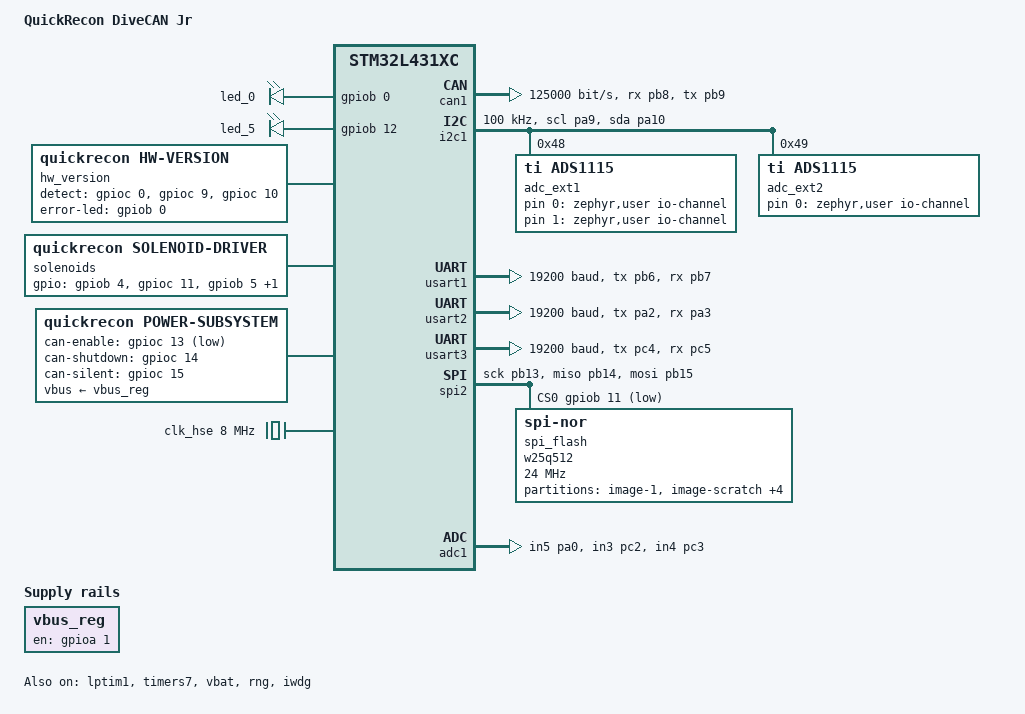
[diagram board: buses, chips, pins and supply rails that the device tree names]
/dts-v1/;
#include <st/l4/stm32l431Xc.dtsi>
#include <st/l4/stm32l431r(b-c)tx-pinctrl.dtsi>
#include <zephyr/dt-bindings/adc/adc.h>

/ {
	model = "QuickRecon DiveCAN Jr";
	compatible = "quickrecon,divecan-jr";

	chosen {
		zephyr,sram = &sram0;
		zephyr,flash = &flash0;
		zephyr,code-partition = &slot0_partition;
		zephyr,canbus = &can1;
	};

	aliases {
		led0 = &led_0;
		led1 = &led_5;
		watchdog0 = &iwdg;
		/* MCUBoot uses this LED during boot/swap operations
		 * (CONFIG_MCUBOOT_INDICATION_LED). Once MCUBoot jumps
		 * into the app, the heartbeat thread takes the LED back
		 * via the led0 alias. */
		mcuboot-led0 = &led_0;
	};

	leds {
		compatible = "gpio-leds";
		led_0: led_0 {
			gpios = <&gpiob 0 GPIO_ACTIVE_HIGH>;
		};
		led_5: led_5 {
			gpios = <&gpiob 12 GPIO_ACTIVE_HIGH>;
		};
	};

	/* Hardware version detection — halts with blink code on mismatch.
	 * JR2: all three pins wired to ground → expected [0, 0, 0] */
	hw_version: hw-version {
		compatible = "quickrecon,hw-version";
		detect-gpios = <&gpioc 0 GPIO_ACTIVE_HIGH>,
			       <&gpioc 9 GPIO_ACTIVE_HIGH>,
			       <&gpioc 10 GPIO_ACTIVE_HIGH>;
		expected-pattern = <0 0 0>;
		error-led-gpios = <&gpiob 0 GPIO_ACTIVE_HIGH>;
	};

	solenoids: solenoids {
		compatible = "quickrecon,solenoid-driver";
		gpios = <&gpiob 4 GPIO_ACTIVE_HIGH>,
			<&gpioc 11 GPIO_ACTIVE_HIGH>,
			<&gpiob 5 GPIO_ACTIVE_HIGH>,
			<&gpioa 7 GPIO_ACTIVE_HIGH>;
		counter = <&sol_timer>;
		/* 5.5 s deadman — safety bound on solenoid on-time if the
		 * fire-thread stalls. Sized to comfortably exceed the PPO2
		 * PID controller's 4.9 s per-cycle on-time (PPO2Control.c
		 * legacy SOLENOID_MAX_FIRE_MS). See COMPROMISE.md. */
		max-on-time-us = <5500000>;
	};

	/* ---- Power subsystem ----
	 * Jr: single battery source, VBUS on/off only.
	 * battery_en (PA1) controls the VBUS regulator.
	 * Battery voltage sensed on ADC1 channel 4 (PC3) through 7.25x divider.
	 * VCC monitored via internal VBAT sensor (shared regulator with VBUS).
	 */
	vbus_reg: vbus-regulator {
		compatible = "regulator-fixed";
		regulator-name = "vbus";
		enable-gpios = <&gpioa 1 GPIO_ACTIVE_HIGH>;
		regulator-boot-on;
		startup-delay-us = <5000>;
	};

	power: power-subsystem {
		compatible = "quickrecon,power-subsystem";
		vbus-supply = <&vbus_reg>;
		battery-sense-io-channels = <&adc1 4>;
		battery-divider-ratio = <7250>;
		/* On Jr, VCC == VBUS (shared regulator). Read it via the
		 * STM32 internal VBAT sensor, which owns ADC channel 18 and
		 * applies the chip's internal 1/3 divider. */
		vcc-sense = <&vbat>;
		can-enable-gpios = <&gpioc 13 GPIO_ACTIVE_LOW>;
		can-shutdown-gpios = <&gpioc 14 GPIO_ACTIVE_HIGH>;
		/* CAN transceiver silent/Rs line. Driven low (normal mode) at
		 * init; asserted high (silent) going into shutdown. Owned as an
		 * output — not a passive input — so a warm start reliably clears
		 * silent mode. See power_management.c. */
		can-silent-gpios = <&gpioc 15 GPIO_ACTIVE_HIGH>;
	};
};

/* ---- Clock tree ----
 * Matches Rev2 for low power: HSE=8MHz, PLL N=12 R=8 → 12MHz SYSCLK
 * PLL Q=4 → 24MHz for CLK48 (RNG clock source)
 */
&clk_hse {
	clock-frequency = <DT_FREQ_M(8)>;
	status = "okay";
};


&pll {
	div-m = <1>;
	mul-n = <12>;
	div-q = <4>;
	div-r = <8>;
	clocks = <&clk_hse>;
	status = "okay";
};

&rcc {
	clocks = <&pll>;
	clock-frequency = <DT_FREQ_M(12)>;
	ahb-prescaler = <1>;
	apb1-prescaler = <1>;
	apb2-prescaler = <1>;
};

/* ---- Kernel timebase: LPTIM1 on LSI (32 kHz) ----
 * Decouples kernel timing from SYSCLK so main() can boost HCLK 12→48 MHz for
 * the boot-path flash scans and restore it afterwards (SysTick, by contrast,
 * counts HCLK — a runtime clock switch under it storms the tickless kernel).
 * LSI is ±5%-ish; per-test timing tolerances absorb that. Tick rate becomes
 * 4000/s via the SoC defconfig. */
&clk_lsi {
	status = "okay";
};

stm32_lp_tick_source: &lptim1 {
	clocks = <&rcc STM32_CLOCK(APB1, 31)>,
		 <&rcc STM32_SRC_LSI LPTIM1_SEL(1)>;
	status = "okay";
};

/* CONFIG_PM is required by the LPTIM timer driver, but this rig/product must
 * NOT enter STOP modes on idle: STOP kills SWD attach (rig flash/debug
 * discipline) and gates the CAN peripheral (dropped DiveCAN frames while
 * idle). Deleting the SoC-provided states leaves the PM policy with nothing
 * to choose, so idle remains plain WFI exactly as before. */
&cpu0 {
	/delete-property/ cpu-power-states;
};

/* ---- CAN bus — DiveCAN @ 125 kbit/s ----
 * Jr at 80 MHz: prescaler and segments are derived from the Zephyr bitrate and
 * sample-point properties below.
 */
&can1 {
	pinctrl-0 = <&can1_rx_pb8 &can1_tx_pb9>;
	pinctrl-names = "default";
	bitrate = <125000>;	/* DiveCAN bus is 125 kbit/s (was erroneously 250000) */
	sample-point = <875>;
	status = "okay";
};

/* ---- I2C1 — ADS1115 external ADCs ----
 * Two devices: 0x48 (cells 1+2), 0x49 (cell 3 + aux)
 * PA9 = SCL, PA10 = SDA
 *
 * Analog cell -> ADC channel distribution lives here in DT (consumed by
 * src/oxygen_cell_analog.c via the zephyr,user io-channels list below), NOT in
 * C. Each channel@N is a logical channel_id; zephyr,input-positive/negative
 * select the physical ADS1115 differential AIN pair. Galvanic cells are ~60 mV
 * full scale, so use the ±0.256 V PGA range (ADC_GAIN_8).
 */
&i2c1 {
	pinctrl-0 = <&i2c1_scl_pa9 &i2c1_sda_pa10>;
	pinctrl-names = "default";
	clock-frequency = <I2C_BITRATE_STANDARD>;
	/* Recovery pins for i2c_recover_bus(): same PA9/PA10 lines, only ever
	 * driven (as open-drain GPIO) while CONFIG_I2C_STM32_BUS_RECOVERY is set
	 * and a recovery is in progress; pinctrl owns them otherwise. Required on
	 * the Poseidon variant. The public recovery operation is used only after
	 * line classification confirms SCL-high/SDA-low; an idle-wire driver wedge
	 * is handled by an atomic STM32 peripheral-enable pulse instead. */
	scl-gpios = <&gpioa 9 (GPIO_OPEN_DRAIN | GPIO_PULL_UP)>;
	sda-gpios = <&gpioa 10 (GPIO_OPEN_DRAIN | GPIO_PULL_UP)>;
	status = "okay";

	adc_ext1: ads1115@48 {
		compatible = "ti,ads1115";
		reg = <0x48>;
		#address-cells = <1>;
		#size-cells = <0>;
		#io-channel-cells = <1>;
		/* ALRT_ADC1 -> PA11 is wired for a conversion-ready IRQ, but the data-ready
		 * interrupt path is NOT yet enabled: with no external pull-up on the open-drain
		 * ALERT/RDY, the weak (~40k) STM32 internal pull-up couldn't reconstruct the
		 * brief (~8us) RDY pulse, so reads stalled (all cells -> 0). Needs scope bring-up
		 * (real pull-up and/or latching comparator + clear-on-read) before re-enabling:
		 *   alert-rdy-gpios = <&gpioa 11 (GPIO_ACTIVE_LOW | GPIO_PULL_UP)>;
		 * Until then the driver uses its OS-bit polling path (works). 32 SPS + the
		 * discard-after-mux-change handle the settling. */

		channel@0 {		/* Cell 1: AIN0-AIN1 differential */
			reg = <0>;
			zephyr,gain = "ADC_GAIN_8";
			zephyr,reference = "ADC_REF_INTERNAL";
			zephyr,acquisition-time = <ADC_ACQ_TIME(ADC_ACQ_TIME_TICKS, 2)>;	/* 32 SPS (~31ms): longer settle for the high-Z (~10k) cell inputs */
			zephyr,resolution = <16>;
			zephyr,differential;
			zephyr,input-positive = <0>;
			zephyr,input-negative = <1>;
		};

		channel@1 {		/* Cell 2: AIN2-AIN3 differential */
			reg = <1>;
			zephyr,gain = "ADC_GAIN_8";
			zephyr,reference = "ADC_REF_INTERNAL";
			zephyr,acquisition-time = <ADC_ACQ_TIME(ADC_ACQ_TIME_TICKS, 2)>;	/* 32 SPS (~31ms): longer settle for the high-Z (~10k) cell inputs */
			zephyr,resolution = <16>;
			zephyr,differential;
			zephyr,input-positive = <2>;
			zephyr,input-negative = <3>;
		};
	};

	adc_ext2: ads1115@49 {
		compatible = "ti,ads1115";
		reg = <0x49>;
		#address-cells = <1>;
		#size-cells = <0>;
		#io-channel-cells = <1>;
		/* ALRT_ADC2 -> PA12 wired for conversion-ready IRQ; NOT enabled yet (see @48 —
		 * needs pull-up/scope bring-up). Polling path in use.
		 *   alert-rdy-gpios = <&gpioa 12 (GPIO_ACTIVE_LOW | GPIO_PULL_UP)>; */

		channel@0 {		/* Cell 3: AIN0-AIN1 differential */
			reg = <0>;
			zephyr,gain = "ADC_GAIN_8";
			zephyr,reference = "ADC_REF_INTERNAL";
			zephyr,acquisition-time = <ADC_ACQ_TIME(ADC_ACQ_TIME_TICKS, 2)>;	/* 32 SPS (~31ms): longer settle for the high-Z (~10k) cell inputs */
			zephyr,resolution = <16>;
			zephyr,differential;
			zephyr,input-positive = <0>;
			zephyr,input-negative = <1>;
		};
	};
};

/* Analog cell -> ADC channel map, in DiveCAN cell order (cell 1, 2, 3).
 * oxygen_cell_analog.c pulls each cell's ADC spec with
 * ADC_DT_SPEC_GET_BY_IDX(DT_PATH(zephyr_user), cell_index). Redistributing
 * cells across chips/pairs is a one-line edit here — no C changes. */
/ {
	zephyr,user {
		io-channels = <&adc_ext1 0>, <&adc_ext1 1>, <&adc_ext2 0>;
	};
};

/* ---- UARTs — Oxygen sensor cells ----
 * All 19200 baud, 8N1.
 * DMA channels assigned from RM0394 Table 41 (STM32L431 DMA request mapping):
 *   USART1: DMA1 Ch5 (RX, req 2), DMA1 Ch4 (TX, req 2)
 *   USART2: DMA1 Ch6 (RX, req 2), DMA1 Ch7 (TX, req 2)
 *   USART3: DMA1 Ch3 (RX, req 2), DMA1 Ch2 (TX, req 2)
 *
 * USART2 and USART3 have TX/RX swap enabled in Rev2 .ioc
 * (ADVFEATURE_SWAP_ENABLE). For Jr, check if swap is still
 * needed — if so, use the swapped pinctrl variants.
 */

/* Cell 1: PB6 (TX), PB7 (RX) — no swap */
&usart1 {
	pinctrl-0 = <&usart1_tx_pb6 &usart1_rx_pb7>;
	pinctrl-names = "default";
	current-speed = <19200>;
	dmas = <&dma1 5 2 (STM32_DMA_PERIPH_TO_MEMORY | STM32_DMA_MEM_INC |
			    STM32_DMA_PERIPH_8BITS | STM32_DMA_MEM_8BITS)>,
	       <&dma1 4 2 (STM32_DMA_MEMORY_TO_PERIPH | STM32_DMA_MEM_INC |
			    STM32_DMA_PERIPH_8BITS | STM32_DMA_MEM_8BITS)>;
	dma-names = "rx", "tx";
	status = "okay";
};

/* Cell 2: PA2 (TX), PA3 (RX). JR+ Rev2 wires USART2 with TX/RX swapped
 * (ADVFEATURE_SWAP_ENABLE in the Rev2 .ioc); verified empirically on the rig
 * 2026-06-23 — cell2 only polls its CellSim with the swap applied. */
&usart2 {
	pinctrl-0 = <&usart2_tx_pa2 &usart2_rx_pa3>;
	pinctrl-names = "default";
	current-speed = <19200>;
	tx-rx-swap;
	dmas = <&dma1 6 2 (STM32_DMA_PERIPH_TO_MEMORY | STM32_DMA_MEM_INC |
			    STM32_DMA_PERIPH_8BITS | STM32_DMA_MEM_8BITS)>,
	       <&dma1 7 2 (STM32_DMA_MEMORY_TO_PERIPH | STM32_DMA_MEM_INC |
			    STM32_DMA_PERIPH_8BITS | STM32_DMA_MEM_8BITS)>;
	dma-names = "rx", "tx";
	status = "okay";
};

/* Cell 3: PC4 (TX), PC5 (RX). JR+ Rev2 wires USART3 with TX/RX swapped too
 * (USART1 is NOT swapped). See the usart2 note above. */
&usart3 {
	pinctrl-0 = <&usart3_tx_pc4 &usart3_rx_pc5>;
	pinctrl-names = "default";
	current-speed = <19200>;
	tx-rx-swap;
	dmas = <&dma1 3 2 (STM32_DMA_PERIPH_TO_MEMORY | STM32_DMA_MEM_INC |
			    STM32_DMA_PERIPH_8BITS | STM32_DMA_MEM_8BITS)>,
	       <&dma1 2 2 (STM32_DMA_MEMORY_TO_PERIPH | STM32_DMA_MEM_INC |
			    STM32_DMA_PERIPH_8BITS | STM32_DMA_MEM_8BITS)>;
	dma-names = "rx", "tx";
	status = "okay";
};

/* ---- SPI2 — Winbond W25Q512JV external flash ----
 * PB13 = SCK, PB14 = MISO, PB15 = MOSI, PB11 = CS
 */
&spi2 {
	pinctrl-0 = <&spi2_sck_pb13 &spi2_miso_pb14 &spi2_mosi_pb15>;
	pinctrl-names = "default";
	cs-gpios = <&gpiob 11 GPIO_ACTIVE_LOW>;
	status = "okay";

	spi_flash: w25q512@0 {
		compatible = "jedec,spi-nor";
		reg = <0>;
		spi-max-frequency = <24000000>;
		jedec-id = [ef 40 20];
		/* W25Q512JV: 512 Mbit = 64 MB. Note: schematic and
		 * ARCHITECTURE.md historically misstated this as GD25Q128
		 * (16 MB). DTS is authoritative — confirmed by physical
		 * hardware inspection. */
		size = <DT_SIZE_M(64)>;
		/* This 64 MB part needs 4-byte addressing to reach anything above
		 * 16 MB (the storage_partition/NVS lives at 0x3ff8000 ≈ 64 MB).
		 * Use dedicated 4-byte-address opcodes (0x13/0x12/0x21/0xDC) for
		 * accesses > 16 MB. NOTE: with CONFIG_SPI_NOR_SFDP_RUNTIME the
		 * `enter-4byte-addr` DT property is compiled out and ignored, and
		 * the chip otherwise stays in 3-byte mode — so reads above 16 MB
		 * silently WRAP into the low 16 MB and writes/erases hang in the
		 * driver's no-timeout WIP poll. `use-4b-addr-opcodes` is honored
		 * under SFDP_RUNTIME and survives the MCUboot→app handoff (no
		 * volatile mode bit to lose). This is the fix for the broken
		 * settings/cal NVS persistence (HIT_LIST #5 / settings-persist). */
		use-4b-addr-opcodes;
		has-dpd;
		t-enter-dpd = <3000>;
		t-exit-dpd = <30000>;
	};
};

/* ---- DMA1 — UART async transfers for digital O2 cells ---- */
&dma1 {
	status = "okay";
};

/* ---- TIM7 — solenoid deadman timer ----
 * One-shot hardware counter. When the alarm fires (ISR),
 * all solenoid GPIOs are forced low regardless of app state.
 *
 * Prescaler tuning (PSC=7999 → divider=8000 → 100 µs/tick) gives a
 * 16-bit max one-shot of 65535 × 100 µs = 6.55 s. The driver clamp
 * `max-on-time-us` is set to 5.5 s — safely under the physical
 * counter range while comfortably above the PID controller's 4.9 s
 * legacy maximum on-time per cycle. The deadman remains a
 * kernel-stall safety net rather than an active control element.
 * See COMPROMISE.md for the rationale (entry "TIM7 prescaler
 * widened for PPO2 controller").
 */
&timers7 {
	st,prescaler = <7999>;
	status = "okay";

	sol_timer: counter {
		status = "okay";
	};
};

/* ---- Internal ADC — voltage monitoring ----
 * PA0 = IN5 (VBUS_V), PC2 = IN3 (CAN_V), PC3 = IN4 (BATT_V)
 * Plus internal VREFINT and VBAT channels.
 */
&adc1 {
	pinctrl-0 = <&adc1_in5_pa0 &adc1_in3_pc2 &adc1_in4_pc3>;
	pinctrl-names = "default";
	st,adc-clock-source = "SYNC";
	st,adc-prescaler = <4>;
	status = "okay";
};

/* ---- VBAT sensor — VCC monitoring via STM32 internal 1/3 divider ----
 * On Jr, VBUS and VCC share a regulator so this also reflects VBUS voltage.
 */
&vbat {
	status = "okay";
};

/* ---- RNG — needed for stack canaries seed ----
 * Clocked from PLL Q (24MHz) via the CLK48 mux, matching the Rev2 config. */
&rng {
	clocks = <&rcc STM32_SRC_PLL_Q CLK48_SEL(2)>;
	status = "okay";
};

/* ---- Watchdog ----
 * Fed by src/watchdog_feeder.c, which only kicks IWDG when every
 * registered safety-critical thread (heartbeat.h) has advanced since
 * the last check.
 */
&iwdg {
	status = "okay";
};

/* ---- Flash partitions ----
 * Internal 256 KB: MCUBoot bootloader (36 KB) + slot0 (220 KB).
 *   NVS storage lives at the top of the external NOR.
 *
 * External 64 MB (W25Q512JV): slot1 (220 KB) + scratch (64 KB) +
 *   factory image backup (220 KB) + flash log (48 MB telemetry +
 *   8 MB text) + NVS storage (32 KB at top).
 *
 * Labels are MCUBoot-conformant: mcuboot, image-0, image-1,
 * image-scratch enable the bootloader's swap-area discovery. The
 * "storage" label is what Zephyr's settings/NVS subsystem looks up
 * by default.
 * The sysbuild MCUBoot overlay disables application-only peripherals so
 * the bootloader fits the 36 KB partition with limited growth margin.
 */
&flash0 {
	partitions {
		compatible = "fixed-partitions";
		#address-cells = <1>;
		#size-cells = <1>;

		/* MCUBoot at 36 KB. Measured ~32 KB (87 % utilised) after
		 * the sysbuild/mcuboot.overlay disables the unused
		 * application peripherals. The ~5 KB headroom (~14 %)
		 * absorbs minor MCUBoot growth from future Zephyr/MCUBoot
		 * upgrades — narrow margin, watch the build-size report
		 * after any sysbuild upgrade. */
		boot_partition: partition@0 {
			label = "mcuboot";
			reg = <0x00000000 DT_SIZE_K(36)>;
			read-only;
		};
		slot0_partition: partition@9000 {
			label = "image-0";
			reg = <0x00009000 DT_SIZE_K(220)>;
		};
	};
};

&spi_flash {
	partitions {
		compatible = "fixed-partitions";
		#address-cells = <1>;
		#size-cells = <1>;

		slot1_partition: partition@0 {
			label = "image-1";
			reg = <0x00000000 DT_SIZE_K(220)>;
		};
		scratch_partition: partition@37000 {
			label = "image-scratch";
			reg = <0x00037000 DT_SIZE_K(64)>;
		};
		factory_partition: partition@47000 {
			label = "factory-image";
			reg = <0x00047000 DT_SIZE_K(220)>;
		};
		/* Flash log — split into two parallel FCB instances.
		 *
		 * Each FCB caps at 255 sectors (uint8_t f_sector_cnt) and
		 * needs an in-RAM 8-byte descriptor per sector. To unlock
		 * the full chip without blowing the STM32L431's 64 KiB SRAM
		 * budget we use 256 KiB logical sectors (the SPI NOR driver
		 * decomposes each into 4× 64 KiB block erases on rotate)
		 * rather than more, smaller descriptors:
		 *   - telemetry: 192 × 256 KiB = 48 MB (192 × 8 B = 1536 B)
		 *   - text:       32 × 256 KiB =  8 MB ( 32 × 8 B =  256 B)
		 * 1.75 KiB of descriptors across both. At the measured
		 * ~168 KiB/min telemetry rate, 48 MB ≈ 4.9 h of continuous
		 * high-rate logging before the ring wraps.
		 *
		 * Markers (BOOT/DIVE_START/DIVE_END) are mirrored across
		 * both so each stream can be partitioned by boot or dive
		 * independently for UDS bulk download.
		 *
		 * ~7.5 MB between log_text_partition and storage_partition
		 * stays unallocated (future custom log layer or hardware
		 * revision can claim it). See docs/FLASH_LOG.md.
		 *
		 * Each FCB sector is now 256 KiB, so partitions must start
		 * on a 256 KiB boundary. factory_partition ends at 0x7E000;
		 * the next 256 KiB-aligned address is 0x80000. The 8 KiB
		 * between 0x7E000 and 0x80000 stays unallocated.
		 */
		log_telemetry_partition: partition@80000 {
			label = "log-telemetry";
			reg = <0x00080000 DT_SIZE_M(48)>;
		};
		log_text_partition: partition@3080000 {
			label = "log-text";
			reg = <0x03080000 DT_SIZE_M(8)>;
		};
		storage_partition: partition@3ff8000 {
			label = "storage";
			reg = <0x03ff8000 DT_SIZE_K(32)>;
		};
	};
};
